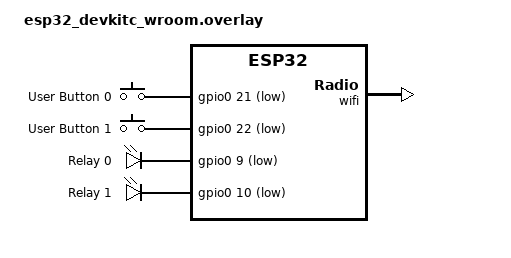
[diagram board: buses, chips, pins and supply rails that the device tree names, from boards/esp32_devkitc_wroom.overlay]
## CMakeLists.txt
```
# SPDX-License-Identifier: Apache-2.0

cmake_minimum_required(VERSION 3.20.0)

find_package(Zephyr REQUIRED HINTS $ENV{ZEPHYR_BASE})
project(home_automation)

set(CMAKE_EXPORT_COMPILE_COMMANDS ON)

set (APP_SOURCES 
   src/app/src/gpio.c
   src/app/src/mqtt.c
   src/app/src/wifi.c
)

target_sources(app PRIVATE 
   src/main.c
   ${APP_SOURCES}
)

target_include_directories(app PRIVATE
   src/app/inc
)
```

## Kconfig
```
# Config options for mqtt_publisher sample application

# Copyright (c) 2020 Intel Corporation
# SPDX-License-Identifier: Apache-2.0

mainmenu "Networking mqtt_publisher sample application"

config NET_SAMPLE_APP_MAX_ITERATIONS
	int "Number of times to Publish sample MQTT messages"
	default 500
	help
	  Send sample MQTT messages this many times in a MQTT connection
	  before exiting. A value of zero means that the messages are sent
	  forever.

config NET_SAMPLE_APP_MAX_CONNECTIONS
	int "Number of times to connect to the MQTT server"
	default 0
	help
	  Number of times to connect to the MQTT server. With each connection
	  send NET_SAMPLE_APP_MAX_ITERATIONS amount of MQTT sample messages.
	  A value of zero means to continue forever.

source "Kconfig.zephyr"
```

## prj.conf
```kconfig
# Kernel options
CONFIG_HEAP_MEM_POOL_SIZE=4096
CONFIG_MAIN_STACK_SIZE=4096
CONFIG_ENTROPY_GENERATOR=y
CONFIG_TEST_RANDOM_GENERATOR=y
CONFIG_INIT_STACKS=y

# Enable Networking
CONFIG_NETWORKING=y
CONFIG_NET_L2_ETHERNET=y
CONFIG_NET_IPV4=y
CONFIG_NET_TCP=y
CONFIG_NET_UDP=y

# Or assign a static IP address (useful for testing)
# Following line must be enabled, otherwise WiFi connection fails with -1.
CONFIG_NET_CONFIG_SETTINGS=y
# CONFIG_NET_CONFIG_NEED_IPV4=n
# CONFIG_NET_CONFIG_MY_IPV4_ADDR="192.168.1.30"
# CONFIG_NET_CONFIG_MY_IPV4_NETMASK="255.255.255.0"
# CONFIG_NET_CONFIG_MY_IPV4_GW="192.168.1.1"

# Enable Networking Managment
CONFIG_NET_MGMT=y
CONFIG_NET_MGMT_EVENT=y
CONFIG_NET_MGMT_EVENT_INFO=y

# Enabling BSD Sockets compatible API
CONFIG_NET_SOCKETS=y
#CONFIG_NET_SOCKETS_POSIX_NAMES=y
CONFIG_NET_TX_STACK_SIZE=4096
CONFIG_NET_RX_STACK_SIZE=4096

# DNS
CONFIG_DNS_RESOLVER=y
CONFIG_DNS_SERVER_IP_ADDRESSES=y
CONFIG_DNS_SERVER1="8.8.8.8"

# Enable the MQTT Lib
CONFIG_MQTT_LIB=y


# Logging
CONFIG_LOG=y
CONFIG_NET_LOG=y
# CONFIG_DEBUG=y
CONFIG_WIFI_LOG_LEVEL_DBG=y
# CONFIG_MQTT_LOG_LEVEL_DBG=y
```

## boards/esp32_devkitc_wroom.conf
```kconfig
# Enable GPIO
CONFIG_GPIO=y

# Enable HEAP
CONFIG_HEAP_MEM_POOL_SIZE=98304

# Enable WIFI
CONFIG_WIFI=y
# CONFIG_NET_L2_WIFI_MGMT=y
CONFIG_NET_DHCPV4=y


# Enable ESP32 WIFI
CONFIG_WIFI_ESP32=y
# CONFIG_ESP32_WIFI_STA_AUTO=y
CONFIG_ESP32_WIFI_STA_RECONNECT=y
CONFIG_ESP32_WIFI_STA_AUTO_DHCPV4=y

# Or assign a static IP address (useful for testing)
# Following line must be enabled, otherwise WiFi connection fails with -1.
CONFIG_NET_CONFIG_NEED_IPV4=n
# CONFIG_NET_CONFIG_MY_IPV4_ADDR="192.168.1.30"
# CONFIG_NET_CONFIG_MY_IPV4_NETMASK="255.255.255.0"
# CONFIG_NET_CONFIG_MY_IPV4_GW="192.168.1.1"
```

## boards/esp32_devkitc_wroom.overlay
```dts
/*
 * Copyright (c) 2022 Espressif Systems (Shanghai) Co., Ltd.
 *
 * SPDX-License-Identifier: Apache-2.0
 */

/ {
	aliases {
		sw0 = &btn0;
		sw1 = &btn1;
		rly0 = &rly0;
		rly1 = &rly1;
	};

	buttons {
		compatible = "gpio-keys";
		btn0: gpio21 {
			gpios = <&gpio0 21 (GPIO_PULL_UP | GPIO_ACTIVE_LOW)>; //Change it to GPIO_ACTIVE_HIGH for actual state
			label = "User Button 0";
		};

		btn1: gpio22 {
			gpios = <&gpio0 22 (GPIO_PULL_UP | GPIO_ACTIVE_LOW)>; //Change it to GPIO_ACTIVE_HIGH for actual state
			label = "User Button 1";
		};
	};

	leds {
		compatible = "gpio-leds";
		rly0: gpio9 {
			gpios = <&gpio0 9 GPIO_ACTIVE_LOW>;
			label = "Relay 0";
		};

		compatible = "gpio-leds";
		rly1: gpio10 {
			gpios = <&gpio0 10 GPIO_ACTIVE_LOW>;
			label = "Relay 1";
		};
	};
};

&wifi {
	status = "okay";
};
```

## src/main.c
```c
/*
 * Copyright (c) 2024 Muhammad Waleed.
 * Copyright (c) 2023 Craig Peacock.
 * Copyright (c) 2017 ARM Ltd.
 * Copyright (c) 2016 Intel Corporation.
 *
 * SPDX-License-Identifier: Apache-2.0
 */

#include <stdlib.h>
#include <stdbool.h>
#include <zephyr/kernel.h>
#include <zephyr/drivers/gpio.h>
#include <zephyr/sys/util.h>
#include <zephyr/sys/printk.h>

#include "wifi.h"
#include "mqtt.h"
#include "gpio.h"
#include "config.h"

/**
 * @brief The main loop.
 *
 * This function initializes Wi-Fi and then enters an infinite loop,
 * calling the pubSub() function every 100 milliseconds.
 *
 * @return void
 */
int main(void)
{
    int rc = 0;

    /* Initialize the GPIO pins for the buttons and relays */

    // Loop over the number of buttons and relays
    for (int index = 0; index < LIMIT; index++) {
        // Set the direction of each button to input
        pin_mode(&buttons[index], GPIO_INPUT);
        // Set the direction of each relay to output
        pin_mode(&relays[index], GPIO_OUTPUT);

        // Read the state of the button
        bool state = digital_read(&buttons[index]);
        // Set the state of the corresponding relay
        digital_write(&relays[index], state);
    }

    /* Initialize Wi-Fi with the SSID and password */
    rc = wifi_init("Ammad_C-25", "ammad175");

    while (1) {
        /*
         * Publish and subscribe to MQTT topics every 100 milliseconds.
         * This function will handle connecting to the MQTT broker,
         * subscribing to topics, and publishing messages.
         */
        pub_sub();

        // Sleep for 100 milliseconds before the next iteration
        k_msleep(100);
    }
}
```

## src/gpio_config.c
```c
/*
 * Copyright (c) 2024 Muhammad Waleed.
 *
 * SPDX-License-Identifier: Apache-2.0
 */

#include <zephyr/kernel.h>
#include <zephyr/device.h>
#include <zephyr/drivers/gpio.h>
#include <zephyr/sys/util.h>
#include "gpio_config.h"
#include "config.h"

#include <zephyr/logging/log.h>
LOG_MODULE_REGISTER(gpio_config, LOG_LEVEL_DBG);

/* Device Tree interface for Buttons*/
struct gpio_dt_spec buttons[maxButtons] = {
    GPIO_DT_SPEC_GET_OR(DT_ALIAS(sw0), gpios, {0}),
    GPIO_DT_SPEC_GET_OR(DT_ALIAS(sw1), gpios, {0})
};

static struct gpio_callback gpio_cb[maxButtons];

/* Device Tree interface for Relay.  */
struct gpio_dt_spec relays[maxRelays] = {
    GPIO_DT_SPEC_GET_OR(DT_ALIAS(rly0), gpios, {0}),
    GPIO_DT_SPEC_GET_OR(DT_ALIAS(rly1), gpios, {0})
};

/* Generic button handler */
void button(const struct device *dev, struct gpio_callback *cb, uint32_t pins) {
    for (int i = 0; i<LIMIT; i++) {
        if (pins & BIT(buttons[i].pin)) {
            bool state = digital_read(&buttons[i]);
            digital_write(&relays[i], state);
            // LOG_INF("Button %d pressed, Relay %d set to %d", i, i, state);
        }
    }
}

uint8_t pin_mode(struct gpio_dt_spec *user_gpio, uint32_t dir) {
    uint8_t ret;

    if (!gpio_is_ready_dt(user_gpio)) {
        LOG_ERR("Error: GPIO device %s is not ready", user_gpio->port->name);
        return 0;
    }

    ret = gpio_pin_configure_dt(user_gpio, dir);
    if (ret != 0) {
        LOG_ERR("Error %d: failed to configure %s pin %d", ret, user_gpio->port->name, user_gpio->pin);
        return 0;
    }

    if (dir == GPIO_INPUT) {
        ret = gpio_pin_interrupt_configure_dt(user_gpio, GPIO_INT_EDGE_BOTH);
        if (ret != 0) {
            LOG_ERR("Error %d: failed to configure interrupt on %s pin %d", ret, user_gpio->port->name, user_gpio->pin);
            return 0;
        }

        /* Initialize callback */
        gpio_init_callback(&gpio_cb[user_gpio->pin], button, BIT(user_gpio->pin));
        gpio_add_callback(user_gpio->port, &gpio_cb[user_gpio->pin]);
    }

    return ret;
}
```

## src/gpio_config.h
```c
/*
 * Copyright (c) 2024 Muhammad Waleed.
 *
 * SPDX-License-Identifier: Apache-2.0
 */

#ifndef GPIO_CONFIG_H
#define GPIO_CONFIG_H

#define digital_read(input) gpio_pin_get_dt(input)
#define digital_write(output, val) gpio_pin_set_dt(output, val)

/* Define Number of button to be used. */
#define maxButtons 2

/* Define Number of relay to be used. */
#define maxRelays 2

/* Device Tree interface for Button.  */
extern struct gpio_dt_spec buttons[maxButtons];

/* Device Tree interface for Relay.  */
extern struct gpio_dt_spec relays[maxRelays];

/* GPIO Direction Control  */
uint8_t pin_mode(struct gpio_dt_spec *user_gpio, uint32_t dir);

#endif
```

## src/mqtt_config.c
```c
/*
 * Copyright (c) 2024 Muhammad Waleed.
 * Copyright (c) 2017 ARM Ltd.
 * Copyright (c) 2016 Intel Corporation.
 *
 * SPDX-License-Identifier: Apache-2.0
 */

#include <string.h>
#include <errno.h>
#include <zephyr/kernel.h>
#include <zephyr/net/socket.h>
#include <zephyr/net/mqtt.h>
#include <zephyr/device.h>
#include <zephyr/drivers/gpio.h>
#include <zephyr/random/random.h>
#include <zephyr/logging/log.h>
#include "mqtt_config.h"
#include "gpio_config.h"
#include "config.h"

LOG_MODULE_REGISTER(mqtt_app, LOG_LEVEL_DBG);


#define SUCCESS_OR_EXIT(rc) { if (rc != 0) { return 1; } }
#define SUCCESS_OR_BREAK(rc) { if (rc != 0) { break; } }

/* Publish Topic list*/
char *pub_topic_name[] = {"/room2/status/outlet1", "/room2/status/outlet2"};
size_t numberOfPubTopics = ARRAY_SIZE(pub_topic_name);

/* Subscribed Topic list*/
char *sub_topic_name[] = {"/room2/set/outlet1", "/room2/set/outlet2"};
size_t numberOfSubTopics = ARRAY_SIZE(sub_topic_name);

/* Buffers for MQTT client. */
static uint8_t rx_buffer[APP_MQTT_BUFFER_SIZE];
static uint8_t tx_buffer[APP_MQTT_BUFFER_SIZE];

/* The mqtt client struct */
struct mqtt_client client_ctx;

/* MQTT Broker details. */
static struct sockaddr_storage broker;

static struct zsock_pollfd fds[1];
static int nfds;

bool connected;

static void prepare_fds(struct mqtt_client *client)
{
	if (client->transport.type == MQTT_TRANSPORT_NON_SECURE) {
		fds[0].fd = client->transport.tcp.sock;
	}

	fds[0].events = ZSOCK_POLLIN;
	nfds = 1;
}

static void clear_fds(void)
{
	nfds = 0;
}

static int wait(int timeout)
{
	int ret = 0;

	if (nfds > 0) {
		ret = zsock_poll(fds, nfds, timeout);
		if (ret < 0) {
			LOG_ERR("poll error: %d", errno);
		}
	}

	return ret;
}

void mqtt_evt_handler(struct mqtt_client *const client,
		      const struct mqtt_evt *evt)
{
	int err;

	switch (evt->type) {
	case MQTT_EVT_CONNACK:
		if (evt->result != 0) {
			LOG_ERR("MQTT connect failed %d", evt->result);
			break;
		}

		connected = true;
		LOG_INF("MQTT client connected!");

		break;

	case MQTT_EVT_DISCONNECT:
		LOG_INF("MQTT client disconnected %d", evt->result);

		connected = false;
		clear_fds();

		break;

	case MQTT_EVT_SUBACK:
		if (evt->result != 0) {
			LOG_INF("MQTT SUBACK error %d", evt->result);
			break;
		}
		LOG_INF("SUB ACK Recieved");
	
		break;

	case MQTT_EVT_PUBACK:
		if (evt->result != 0) {
			LOG_ERR("MQTT PUBACK error %d", evt->result);
			break;
		}

		LOG_INF("PUBACK packet id: %u", evt->param.puback.message_id);

		break;

	case MQTT_EVT_PUBREC:
		if (evt->result != 0) {
			LOG_ERR("MQTT PUBREC error %d", evt->result);
			break;
		}

		LOG_INF("PUBREC packet id: %u", evt->param.pubrec.message_id);

		const struct mqtt_pubrel_param rel_param = {
			.message_id = evt->param.pubrec.message_id
		};

		err = mqtt_publish_qos2_release(client, &rel_param);
		if (err != 0) {
			LOG_ERR("Failed to send MQTT PUBREL: %d", err);
		}

		break;

	case MQTT_EVT_PUBCOMP:
		if (evt->result != 0) {
			LOG_ERR("MQTT PUBCOMP error %d", evt->result);
			break;
		}

		LOG_INF("PUBCOMP packet id: %u",
			evt->param.pubcomp.message_id);

		break;

	case MQTT_EVT_PINGRESP:
		LOG_INF("PINGRESP packet");
		break;

	case MQTT_EVT_PUBLISH:
		struct mqtt_puback_param puback;
		uint8_t data[2];
		char* subTopic = (uint8_t*)evt->param.publish.message.topic.topic.utf8;
		int len = evt->param.publish.message.payload.len;
		int bytes_read;
		
		LOG_INF("MQTT publish received %d, %d bytes", evt->result, len);
		LOG_INF("MQTT publish received topic: %s", subTopic);
		LOG_INF(" id: %d, qos: %d", evt->param.publish.message_id,
			evt->param.publish.message.topic.qos);

		while (len) {
			bytes_read = mqtt_read_publish_payload(&client_ctx,
					data,
					len >= sizeof(data) - 1 ?
					sizeof(data) - 1 : len);
			if (bytes_read < 0 && bytes_read != -EAGAIN) {
				LOG_ERR("failure to read payload");
				break;
			}

			data[bytes_read] = '\0';
			len -= bytes_read;
		}

		/* Toggle Relay State when payload is recieved from Home Assistant*/
		for(int index=0; index<LIMIT; index++)
			if (!strcmp(subTopic, sub_topic_name[index])) 
				sub_relay_state(&relays[index], data, pub_topic_name[index]);

		puback.message_id = evt->param.publish.message_id;
		mqtt_publish_qos1_ack(&client_ctx, &puback);
		break;

	default:
		break;
	}
}

int subscribe(struct mqtt_client *client, char *getSubTopic[], size_t numberOfSubTopics)
{
	int ret;

	struct mqtt_topic topics[numberOfSubTopics];
	struct mqtt_subscription_list sub;

	for (size_t i = 0; i < ARRAY_SIZE(topics); ++i) {
        topics[i].topic.utf8 = getSubTopic[i];
        topics[i].topic.size = strlen(getSubTopic[i]);
        topics[i].qos = MQTT_QOS_0_AT_MOST_ONCE;
    }

	sub.list = topics;
	sub.list_count = numberOfSubTopics;
	sub.message_id = sys_rand32_get();

	LOG_INF("Subscribing to %hu topic(s)", sub.list_count);

	ret = mqtt_subscribe(client, &sub);
	if (ret != 0) {
		LOG_ERR("Failed to subscribe to topics: %d", ret);
	}

	return ret;
}

int publish(struct mqtt_client *client, char *get_pub_topic, char *get_payload)
{
	struct mqtt_publish_param param;

	param.message.topic.qos = 0;
	param.message.topic.topic.utf8 = (uint8_t *)get_pub_topic;
	param.message.topic.topic.size =
			strlen(param.message.topic.topic.utf8);
	param.message.payload.data = get_payload;
	param.message.payload.len =
			strlen(param.message.payload.data);
	param.message_id = sys_rand32_get();
	param.dup_flag = 0U;
	param.retain_flag = 0U;

	return mqtt_publish(client, &param);
}

#define RC_STR(rc) ((rc) == 0 ? "OK" : "ERROR")

#define PRINT_RESULT(func, rc) \
	LOG_INF("%s: %d <%s>", (func), rc, RC_STR(rc))

static void broker_init(void)
{
	struct sockaddr_in *broker4 = (struct sockaddr_in *)&broker;

	broker4->sin_family = AF_INET;
	broker4->sin_port = htons(SERVER_PORT);
	zsock_inet_pton(AF_INET, SERVER_ADDR, &broker4->sin_addr);
}

static void client_init(struct mqtt_client *client)
{
	mqtt_client_init(client);

	broker_init();

	/* MQTT client configuration */
	client->broker = &broker;
	client->evt_cb = mqtt_evt_handler;
	client->client_id.utf8 = (uint8_t *)MQTT_CLIENTID;
	client->client_id.size = strlen(MQTT_CLIENTID);
	client->password = NULL;
	client->user_name = NULL;
	client->protocol_version = MQTT_VERSION_3_1_1;

	/* MQTT buffers configuration */
	client->rx_buf = rx_buffer;
	client->rx_buf_size = sizeof(rx_buffer);
	client->tx_buf = tx_buffer;
	client->tx_buf_size = sizeof(tx_buffer);
}

/* In this routine we block until the connected variable is 1 */
int try_to_connect(struct mqtt_client *client)
{
	int rc, i = 0;

	while (i++ < APP_CONNECT_TRIES && !connected) {

		client_init(client);

		rc = mqtt_connect(client);
		if (rc != 0) {
			PRINT_RESULT("mqtt_connect", rc);
			k_sleep(K_MSEC(APP_SLEEP_MSECS));
			continue;
		}

		prepare_fds(client);

		if (wait(APP_CONNECT_TIMEOUT_MS)) {
			mqtt_input(client);
		}

		if (!connected) {
			mqtt_abort(client);
		}
	}

	if (connected) {
		return 0;
	}

	return -EINVAL;
}

int process_mqtt_and_sleep(struct mqtt_client *client, int timeout)
{
	int64_t remaining = timeout;
	int64_t start_time = k_uptime_get();
	int rc;

	while (remaining > 0 && connected) {
		if (wait(remaining)) {
			rc = mqtt_input(client);
			if (rc != 0) {
				PRINT_RESULT("mqtt_input", rc);
				return rc;
			}
		}

		rc = mqtt_live(client);
		if (rc != 0 && rc != -EAGAIN) {
			PRINT_RESULT("mqtt_live", rc);
			return rc;
		} else if (rc == 0) {
			rc = mqtt_input(client);
			if (rc != 0) {
				PRINT_RESULT("mqtt_input", rc);
				return rc;
			}
		}

		remaining = timeout + start_time - k_uptime_get();
	}

	return 0;
}

/*Publish Physical Switch State*/
int8_t pub_switch_state(struct gpio_dt_spec *button, uint8_t index, char *pub_topic_name){
    int8_t rc;
    bool currentState = digital_read(button);
    static bool previousState[32] = {false};

    // Check if the state has changed
	if(previousState[index] ^ currentState){
		if(currentState) rc = publish(&client_ctx, pub_topic_name, "1");
		else rc = publish(&client_ctx, pub_topic_name, "0");
	}
	previousState[index] = currentState;

	return rc;
}

/*Subsribe to Home Assistant Switch States*/
int8_t sub_relay_state(struct gpio_dt_spec *relay, char *payload, char *pub_topic_name){
	int8_t rc;

	if(!strcmp(payload, "1")) {
		rc = publish(&client_ctx, pub_topic_name, "1");
		digital_write(relay, 1);
		LOG_INF("Relay State: 1");
	} else if(!strcmp(payload, "0")) {
		rc = publish(&client_ctx, pub_topic_name, "0");
		digital_write(relay, 0);
		LOG_INF("Relay State: 0");
	}

	return rc;
}

int8_t pub_sub(void)
{
	int8_t rc, r = 0;

	rc = try_to_connect(&client_ctx);
	SUCCESS_OR_EXIT(rc);

	if (connected)
		subscribe(&client_ctx, sub_topic_name, numberOfSubTopics);

	while (connected) {
		r = -1;

		for(int index=0; index<LIMIT; index++)
			pub_switch_state(&buttons[index], index, pub_topic_name[index]);

		rc = process_mqtt_and_sleep(&client_ctx, APP_SLEEP_MSECS);
		SUCCESS_OR_BREAK(rc);

		r = 0;
	}

	return r;
}
```

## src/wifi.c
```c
/*
 * Copyright (c) 2024 Muhammad Waleed.
 * Copyright (c) 2023 Craig Peacock.
 * Copyright (c) 2017 ARM Ltd.
 * Copyright (c) 2016 Intel Corporation.
 *
 * SPDX-License-Identifier: Apache-2.0
 */

#include <errno.h>
#include <zephyr/kernel.h>
#include <zephyr/net/net_if.h>
#include <zephyr/net/wifi_mgmt.h>
#include <zephyr/net/net_event.h>
#include <zephyr/toolchain.h>
#include <zephyr/logging/log.h>
#include "wifi.h"
#include "config.h"

LOG_MODULE_REGISTER(wifi_app, LOG_LEVEL_DBG);

static K_SEM_DEFINE(wifi_connected, 0, 1);
static K_SEM_DEFINE(ipv4_address_obtained, 0, 1);

static struct net_mgmt_event_callback wifi_cb;
static struct net_mgmt_event_callback ipv4_cb;

static void handle_ipv4_result(struct net_if *iface)
{
    int i = 0;

    for (i = 0; i < NET_IF_MAX_IPV4_ADDR; i++) {

        char buf[NET_IPV4_ADDR_LEN];

        if (iface->config.ip.ipv4->unicast[i].addr_type != NET_ADDR_DHCP) {
            continue;
        }

        LOG_INF("IPv4 address: %s",
                net_addr_ntop(AF_INET,
                                &iface->config.ip.ipv4->unicast[i].address.in_addr,
                                buf, sizeof(buf)));
        LOG_INF("Subnet: %s",
                net_addr_ntop(AF_INET,
                                &iface->config.ip.ipv4->netmask,
                                buf, sizeof(buf)));
        LOG_INF("Router: %s",
                net_addr_ntop(AF_INET,
                                &iface->config.ip.ipv4->gw,
                                buf, sizeof(buf)));
    }

    k_sem_give(&ipv4_address_obtained);
}

static void handle_wifi_connect_result(struct net_mgmt_event_callback *cb)
{
    const struct wifi_status *status = (const struct wifi_status *)cb->info;

    if (status->status)
    {
        LOG_INF("Connection request failed (%d)", status->status);
    }
    else
    {
        LOG_INF("Connected");
        k_sem_give(&wifi_connected);
    }
}

static int handle_wifi_disconnect_result(struct net_mgmt_event_callback *cb)
{
    const struct wifi_status *status = (const struct wifi_status *)cb->info;

    if (status->status)
    {
        LOG_INF("Disconnection request (%d)", status->status);
    }
    else
    {
        LOG_INF("Disconnected");
        k_sem_take(&wifi_connected, K_NO_WAIT);
    }
	return status->status;
}

static void wifi_mgmt_event_handler(struct net_mgmt_event_callback *cb, uint32_t mgmt_event, struct net_if *iface)
{
	LOG_INF("mgmt_event: %d", mgmt_event);
    switch (mgmt_event)
    {
        case NET_EVENT_WIFI_AP_ENABLE_RESULT:
            LOG_INF("ESP32 WiFi AP enabled");
            break;

        case NET_EVENT_WIFI_CONNECT_RESULT:
            handle_wifi_connect_result(cb);
            break;

        case NET_EVENT_WIFI_DISCONNECT_RESULT:
            handle_wifi_disconnect_result(cb);
            break;

        case NET_EVENT_IPV4_ADDR_ADD:
            handle_ipv4_result(iface);
            break;

        default:
            break;
    }
}

void wifi_connect(char *SSID, char *PSK)
{
    struct net_if *iface = net_if_get_default();

    struct wifi_connect_req_params wifi_params = {0};

    wifi_params.ssid = SSID;
    wifi_params.psk = PSK;
    wifi_params.ssid_length = strlen(SSID);
    wifi_params.psk_length = strlen(PSK);
    wifi_params.channel = WIFI_CHANNEL_ANY;
    wifi_params.security = WIFI_SECURITY_TYPE_PSK;
    wifi_params.band = WIFI_FREQ_BAND_2_4_GHZ;
    wifi_params.mfp = WIFI_MFP_OPTIONAL;

    LOG_INF("Connecting to SSID: %s", wifi_params.ssid);

    if (net_mgmt(NET_REQUEST_WIFI_CONNECT, iface, &wifi_params, sizeof(struct wifi_connect_req_params)))
    {
        LOG_INF("WiFi Connection Request Failed");
    }
}

int8_t wifi_status(void)
{
    struct net_if *iface = net_if_get_default();

    struct wifi_iface_status status = {0};

    if (net_mgmt(NET_REQUEST_WIFI_IFACE_STATUS, iface, &status,	sizeof(struct wifi_iface_status)))
    {
        LOG_INF("WiFi Status Request Failed");
        return 0;
    }

    if (status.state >= WIFI_STATE_ASSOCIATED) {
        LOG_INF("SSID: %-32s", status.ssid);
        LOG_INF("Band: %s", wifi_band_txt(status.band));
        LOG_INF("Channel: %d", status.channel);
        LOG_INF("Security: %s", wifi_security_txt(status.security));
        LOG_INF("RSSI: %d", status.rssi);
    }

    return (int8_t)status.state;
}

void wifi_disconnect(void)
{
    struct net_if *iface = net_if_get_default();

    if (net_mgmt(NET_REQUEST_WIFI_DISCONNECT, iface, NULL, 0))
    {
        LOG_INF("WiFi Disconnection Request Failed");
    }
}

void wifi_ap(void){

    struct wifi_connect_req_params ap_params = {
        .ssid = "ZephyrAP",
        .ssid_length = strlen("ZephyrAP"),
        .channel = 6,
        .security = WIFI_SECURITY_TYPE_PSK,
        .psk = "password123",
        .psk_length = strlen("password123"),
    };

    struct net_if *iface = net_if_get_default();
    if (!iface) {
        LOG_ERR("Default network interface not found");
        return;
    }

    struct in_addr my_addr, gw, netmask;

    if (net_addr_pton(AF_INET, CONFIG_NET_CONFIG_MY_IPV4_ADDR, &my_addr) < 0) {
        LOG_ERR("Invalid IP address: %s", CONFIG_NET_CONFIG_MY_IPV4_ADDR);
        return;
    }

    if (net_addr_pton(AF_INET, CONFIG_NET_CONFIG_MY_IPV4_NETMASK, &netmask) < 0) {
        LOG_ERR("Invalid netmask: %s", CONFIG_NET_CONFIG_MY_IPV4_NETMASK);
        return;
    }

    if (net_addr_pton(AF_INET, CONFIG_NET_CONFIG_MY_IPV4_GW, &gw) < 0) {
        LOG_ERR("Invalid gateway: %s", CONFIG_NET_CONFIG_MY_IPV4_GW);
        return;
    }

    net_if_ipv4_addr_add(iface, &my_addr, NET_ADDR_MANUAL, 0);
    net_if_ipv4_set_gw(iface, &gw);
    net_if_ipv4_set_netmask(iface, &netmask);

	LOG_INF("Attempting to enable WiFi AP mode...");
    int ret = net_mgmt(NET_REQUEST_WIFI_AP_ENABLE, iface, &ap_params, sizeof(ap_params));
    if (ret) {
        LOG_ERR("Failed to enable AP mode. Error code: %d", ret);
        return;
    }

    LOG_INF("WiFi AP enabled successfully. SSID: %s, IP: %s", ap_params.ssid, CONFIG_NET_CONFIG_MY_IPV4_ADDR);
}

int8_t wifi_init(char *SSID, char *PSK)
{
    LOG_INF("WiFi Initialized: %s", CONFIG_BOARD);

    net_mgmt_init_event_callback(&wifi_cb, wifi_mgmt_event_handler,
                                 NET_EVENT_WIFI_CONNECT_RESULT | NET_EVENT_WIFI_DISCONNECT_RESULT);

    net_mgmt_init_event_callback(&ipv4_cb, wifi_mgmt_event_handler, NET_EVENT_IPV4_ADDR_ADD);

    net_mgmt_add_event_callback(&wifi_cb);
    net_mgmt_add_event_callback(&ipv4_cb);

    // wifi_ap();
    wifi_connect(SSID, PSK);
    k_sem_take(&wifi_connected, K_FOREVER);
    wifi_status();
    k_sem_take(&ipv4_address_obtained, K_FOREVER);
	// LOG_INF("Wifi Status: %d", handle_wifi_disconnect_result(&wifi_cb));
    LOG_INF("Ready...");

	return 0;
}
```
